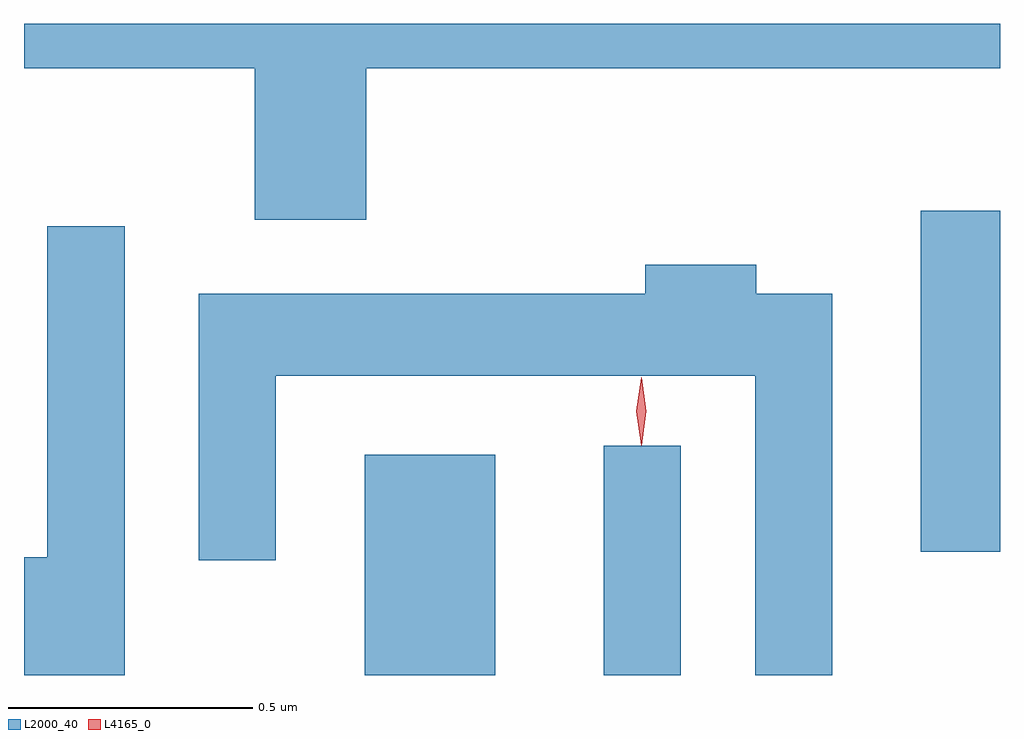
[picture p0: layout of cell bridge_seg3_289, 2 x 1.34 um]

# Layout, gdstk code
import gdstk
lib = gdstk.Library(unit=1e-6, precision=1e-09)
def R(c, l, rs):  # rectangles x0, y0, x1, y1
    for r in rs: c.add(gdstk.rectangle(r[:2], r[2:], *l))
def P(c, l, *ps):  # polygons
    for p in ps: c.add(gdstk.Polygon(p, *l))
L2000_40 = (2000, 40)
L4165_0 = (4165, 0)

bridge_seg3_289 = lib.new_cell('bridge_seg3_289')
R(bridge_seg3_289, L2000_40, [(1016.316,1115.892,1016.584,1116.344), (1016.806,1115.892,1016.964,1116.363), (1017.456,1116.146,1017.618,1116.844)])
P(bridge_seg3_289, L2000_40, [(1016.319,1117.136),(1017.618,1117.136),(1017.618,1117.228),(1015.618,1117.228),(1015.618,1117.136),(1016.091,1117.136),(1016.091,1116.826),(1016.319,1116.826)],
  [(1015.824,1116.813),(1015.666,1116.813),(1015.666,1116.134),(1015.618,1116.134),(1015.618,1115.892),(1015.824,1115.892)],
  [(1017.274,1116.674),(1017.119,1116.674),(1017.119,1116.734),(1016.891,1116.734),(1016.891,1116.674),(1015.976,1116.674),(1015.976,1116.128),(1016.134,1116.128),(1016.134,1116.506),(1017.116,1116.506),(1017.116,1115.892),(1017.274,1115.892)])
P(bridge_seg3_289, L4165_0, [(1016.883,1116.363),(1016.883,1116.364),(1016.873,1116.433),(1016.883,1116.502),(1016.883,1116.503),(1016.884,1116.502),(1016.893,1116.433),(1016.884,1116.364)])

lib.write_gds('bridge_seg3_289.gds')
